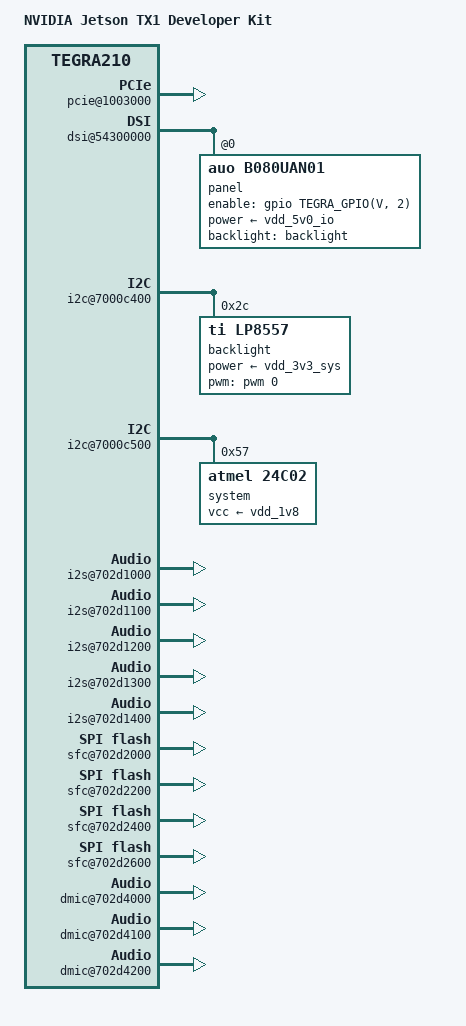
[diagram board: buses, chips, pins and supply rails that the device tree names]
// SPDX-License-Identifier: GPL-2.0
/dts-v1/;

#include "tegra210-p2180.dtsi"
#include "tegra210-p2597.dtsi"

/ {
	model = "NVIDIA Jetson TX1 Developer Kit";
	compatible = "nvidia,p2371-2180", "nvidia,tegra210";

	pcie@1003000 {
		status = "okay";

		hvddio-pex-supply = <&vdd_1v8>;
		dvddio-pex-supply = <&vdd_pex_1v05>;
		vddio-pex-ctl-supply = <&vdd_1v8>;

		pci@1,0 {
			phys = <&{/padctl@7009f000/pads/pcie/lanes/pcie-0}>,
			       <&{/padctl@7009f000/pads/pcie/lanes/pcie-1}>,
			       <&{/padctl@7009f000/pads/pcie/lanes/pcie-2}>,
			       <&{/padctl@7009f000/pads/pcie/lanes/pcie-3}>;
			phy-names = "pcie-0", "pcie-1", "pcie-2", "pcie-3";
			status = "okay";
		};

		pci@2,0 {
			phys = <&{/padctl@7009f000/pads/pcie/lanes/pcie-4}>;
			phy-names = "pcie-0";
			status = "okay";
		};
	};

	host1x@50000000 {
		dsi@54300000 {
			status = "okay";

			avdd-dsi-csi-supply = <&vdd_dsi_csi>;

			panel@0 {
				compatible = "auo,b080uan01";
				reg = <0>;

				enable-gpios = <&gpio TEGRA_GPIO(V, 2)
						GPIO_ACTIVE_HIGH>;
				power-supply = <&vdd_5v0_io>;
				backlight = <&backlight>;
			};
		};
	};

	i2c@7000c400 {
		backlight: backlight@2c {
			compatible = "ti,lp8557";
			reg = <0x2c>;
			power-supply = <&vdd_3v3_sys>;

			dev-ctrl = /bits/ 8 <0x80>;
			init-brt = /bits/ 8 <0xff>;

			pwms = <&pwm 0 29334>;
			pwm-names = "lp8557";

			/* boost frequency 1 MHz */
			rom-13h {
				rom-addr = /bits/ 8 <0x13>;
				rom-val = /bits/ 8 <0x01>;
			};

			/* 3 LED string */
			rom-14h {
				rom-addr = /bits/ 8 <0x14>;
				rom-val = /bits/ 8 <0x87>;
			};
		};
	};

	i2c@7000c500 {
		/* carrier board ID EEPROM */
		eeprom@57 {
			compatible = "atmel,24c02";
			reg = <0x57>;

			label = "system";
			vcc-supply = <&vdd_1v8>;
			address-width = <8>;
			pagesize = <8>;
			size = <256>;
			read-only;
		};
	};

	cec@70015000 {
		status = "okay";

		hdmi-phandle = <&sor1>;
	};

	clock@70110000 {
		status = "okay";

		nvidia,cf = <6>;
		nvidia,ci = <0>;
		nvidia,cg = <2>;
		nvidia,droop-ctrl = <0x00000f00>;
		nvidia,force-mode = <1>;
		nvidia,sample-rate = <25000>;

		nvidia,pwm-min-microvolts = <708000>;
		nvidia,pwm-period-nanoseconds = <2500>; /* 2.5us */
		nvidia,pwm-to-pmic;
		nvidia,pwm-tristate-microvolts = <1000000>;
		nvidia,pwm-voltage-step-microvolts = <19200>;

		pinctrl-names = "dvfs_pwm_enable", "dvfs_pwm_disable";
		pinctrl-0 = <&dvfs_pwm_active_state>;
		pinctrl-1 = <&dvfs_pwm_inactive_state>;
	};

	aconnect@702c0000 {
		status = "okay";

		ahub@702d0800 {
			status = "okay";

			admaif@702d0000 {
				status = "okay";
			};

			i2s@702d1000 {
				status = "okay";
			};

			i2s@702d1100 {
				status = "okay";
			};

			i2s@702d1200 {
				status = "okay";
			};

			i2s@702d1300 {
				status = "okay";
			};

			i2s@702d1400 {
				status = "okay";
			};

			sfc@702d2000 {
				status = "okay";
			};

			sfc@702d2200 {
				status = "okay";
			};

			sfc@702d2400 {
				status = "okay";
			};

			sfc@702d2600 {
				status = "okay";
			};

			amx@702d3000 {
				status = "okay";
			};

			amx@702d3100 {
				status = "okay";
			};

			adx@702d3800 {
				status = "okay";
			};

			adx@702d3900 {
				status = "okay";
			};

			dmic@702d4000 {
				status = "okay";
			};

			dmic@702d4100 {
				status = "okay";
			};

			dmic@702d4200 {
				status = "okay";
			};

			processing-engine@702d8000 {
				status = "okay";
			};

			processing-engine@702d8400 {
				status = "okay";
			};

			mvc@702da000 {
				status = "okay";
			};

			mvc@702da200 {
				status = "okay";
			};

			amixer@702dbb00 {
				status = "okay";
			};
		};

		dma-controller@702e2000 {
			status = "okay";
		};

		interrupt-controller@702f9000 {
			status = "okay";
		};
	};

	sound {
		compatible = "nvidia,tegra210-audio-graph-card";
		status = "okay";

		dais = /* FE */
		       <&admaif1_port>, <&admaif2_port>, <&admaif3_port>,
		       <&admaif4_port>, <&admaif5_port>, <&admaif6_port>,
		       <&admaif7_port>, <&admaif8_port>, <&admaif9_port>,
		       <&admaif10_port>,
		       /* Router */
		       <&xbar_i2s1_port>, <&xbar_i2s2_port>, <&xbar_i2s3_port>,
		       <&xbar_i2s4_port>, <&xbar_i2s5_port>, <&xbar_dmic1_port>,
		       <&xbar_dmic2_port>, <&xbar_dmic3_port>,
		       <&xbar_sfc1_in_port>, <&xbar_sfc2_in_port>,
		       <&xbar_sfc3_in_port>, <&xbar_sfc4_in_port>,
		       <&xbar_mvc1_in_port>, <&xbar_mvc2_in_port>,
		       <&xbar_amx1_in1_port>, <&xbar_amx1_in2_port>,
		       <&xbar_amx1_in3_port>, <&xbar_amx1_in4_port>,
		       <&xbar_amx2_in1_port>, <&xbar_amx2_in2_port>,
		       <&xbar_amx2_in3_port>, <&xbar_amx2_in4_port>,
		       <&xbar_adx1_in_port>, <&xbar_adx2_in_port>,
		       <&xbar_mixer_in1_port>, <&xbar_mixer_in2_port>,
		       <&xbar_mixer_in3_port>, <&xbar_mixer_in4_port>,
		       <&xbar_mixer_in5_port>, <&xbar_mixer_in6_port>,
		       <&xbar_mixer_in7_port>, <&xbar_mixer_in8_port>,
		       <&xbar_mixer_in9_port>, <&xbar_mixer_in10_port>,
		       <&xbar_ope1_in_port>, <&xbar_ope2_in_port>,
		       /* HW accelerators */
		       <&sfc1_out_port>, <&sfc2_out_port>,
		       <&sfc3_out_port>, <&sfc4_out_port>,
		       <&mvc1_out_port>, <&mvc2_out_port>,
		       <&amx1_out_port>, <&amx2_out_port>,
		       <&adx1_out1_port>, <&adx1_out2_port>,
		       <&adx1_out3_port>, <&adx1_out4_port>,
		       <&adx2_out1_port>, <&adx2_out2_port>,
		       <&adx2_out3_port>, <&adx2_out4_port>,
		       <&mixer_out1_port>, <&mixer_out2_port>,
		       <&mixer_out3_port>, <&mixer_out4_port>,
		       <&mixer_out5_port>,
		       <&ope1_out_port>, <&ope2_out_port>,
		       /* I/O DAP Ports */
		       <&i2s1_port>, <&i2s2_port>, <&i2s3_port>, <&i2s4_port>,
		       <&i2s5_port>, <&dmic1_port>, <&dmic2_port>, <&dmic3_port>;

		label = "NVIDIA Jetson TX1 APE";
	};
};
